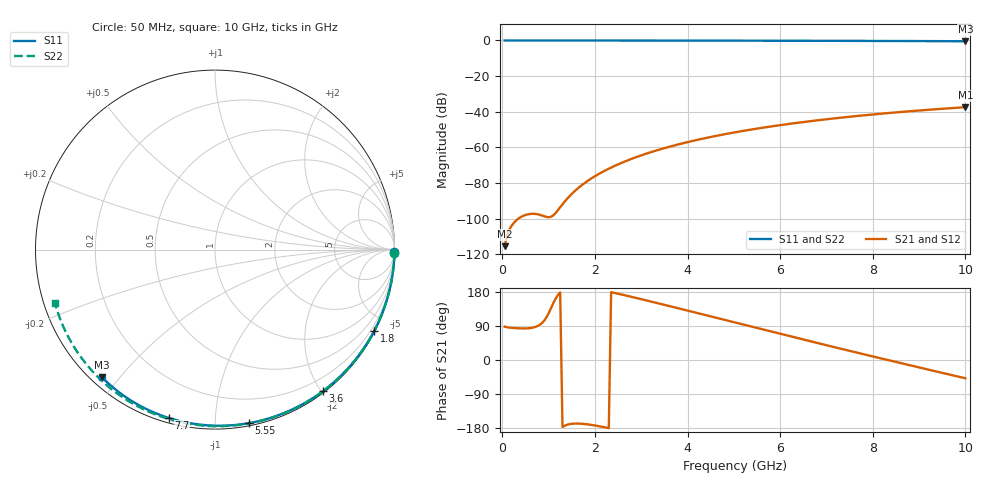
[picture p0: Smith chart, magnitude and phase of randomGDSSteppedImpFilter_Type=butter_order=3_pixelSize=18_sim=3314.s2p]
! freq	dB(S11)	phase(S11)	dB(S12)	phase(S12)
!  dB(S21)	phase(S21)	dB(S22)	phase(S22)
!S-par simulation data
#  GHz  S  DB  R 50
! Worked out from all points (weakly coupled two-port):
!   200 points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, 50 MHz to 10 GHz, reference 50 ohm
!   highest |S21| = -37.44 dB at 10 GHz (marker M1); lowest = -115.4 dB at 50 MHz (marker M2)
!   lowest |S11| = -0.4 dB at 10 GHz (marker M3), VSWR 38.90, Z = 1.54 - j22.4 ohm
!   |S11| at or under -10 dB: nowhere
!   |S22| runs from -0.5 to 0.0 dB; largest |S21 - S12| = 0
!   S11 on the Smith chart (normalised r, x): 50 MHz: open; 1.8 GHz: 0.04, -4.17; 3.6 GHz: 0.02, -2.01; 5.55 GHz: 0.02, -1.22; 7.7 GHz: 0.02, -0.76; 10 GHz: 0.03, -0.45
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0.05  -0.00 -0.8  -115.41 88.0  -115.41 88.0  -0.00 -0.9
0.45  -0.01 -6.8  -98.41 83.3  -98.41 83.3  -0.01 -8.5
0.85  -0.02 -12.9  -98.12 96.7  -98.12 96.7  -0.02 -16.0
1.3  -0.02 -19.6  -91.91 -176.7  -91.91 -176.7  -0.03 -24.3
1.75  -0.03 -26.3  -80.53 -168.6  -80.53 -168.6  -0.04 -32.6
1.8  -0.03 -27.0  -79.58 -169.2  -79.58 -169.2  -0.04 -33.5
1.95  -0.04 -29.2  -76.97 -171.8  -76.97 -171.8  -0.05 -36.2
2.1  -0.04 -31.4  -74.66 -174.9  -74.66 -174.9  -0.05 -38.9
2.3  -0.04 -34.3  -71.93 -179.8  -71.93 -179.8  -0.05 -42.5
2.5  -0.05 -37.2  -69.52 174.9  -69.52 174.9  -0.06 -46.0
2.9  -0.06 -42.9  -65.39 163.5  -65.39 163.5  -0.07 -53.1
3.4  -0.07 -50.0  -61.17 148.6  -61.17 148.6  -0.08 -61.7
3.6  -0.07 -52.8  -59.69 142.5  -59.69 142.5  -0.09 -65.1
4.3  -0.09 -62.4  -55.25 121.1  -55.25 121.1  -0.11 -76.7
5.05  -0.11 -72.4  -51.42 98.0  -51.42 98.0  -0.14 -88.7
5.55  -0.13 -78.8  -49.25 82.7  -49.25 82.7  -0.16 -96.5
6.1  -0.15 -85.8  -47.14 66.0  -47.14 66.0  -0.19 -104.8
6.7  -0.18 -93.3  -45.13 47.9  -45.13 47.9  -0.22 -113.8
7.7  -0.24 -105.3  -42.27 18.2  -42.27 18.2  -0.29 -128.3
8.35  -0.29 -112.9  -40.70 -0.8  -40.70 -0.8  -0.35 -137.7
9.2  -0.36 -122.7  -38.90 -25.4  -38.90 -25.4  -0.44 -149.9
10  -0.45 -131.7  -37.44 -48.2  -37.44 -48.2  -0.54 -161.5
